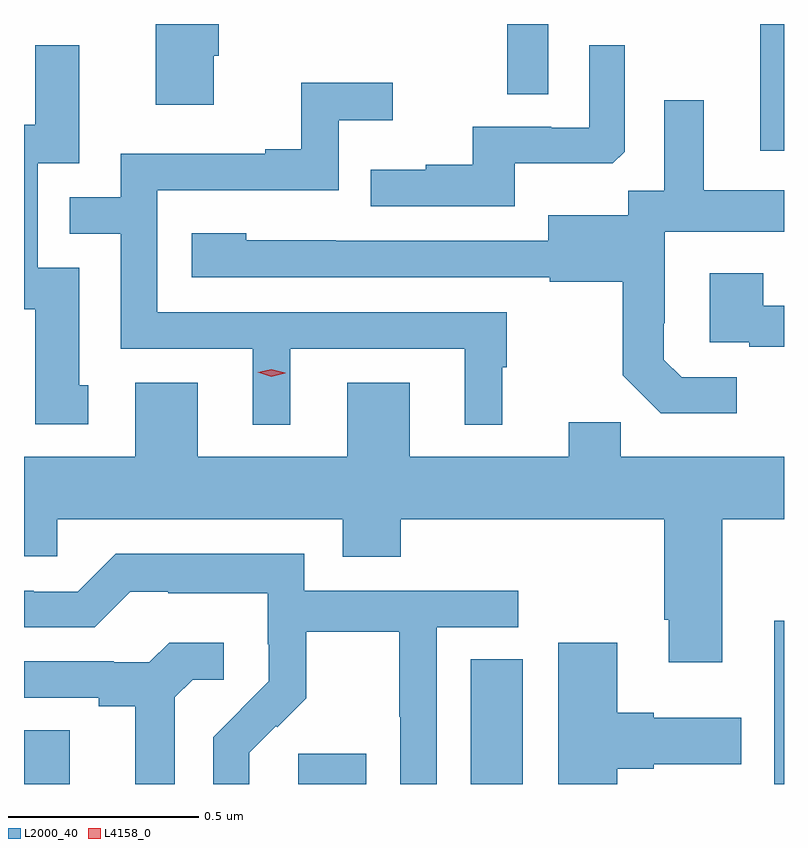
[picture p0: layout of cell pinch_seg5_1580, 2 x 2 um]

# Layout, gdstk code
import gdstk
lib = gdstk.Library(unit=1e-6, precision=1e-09)
def R(c, l, rs):  # rectangles x0, y0, x1, y1
    for r in rs: c.add(gdstk.rectangle(r[:2], r[2:], *l))
def P(c, l, *ps):  # polygons
    for p in ps: c.add(gdstk.Polygon(p, *l))
L2000_40 = (2000, 40)
L4158_0 = (4158, 0)

pinch_seg5_1580 = lib.new_cell('pinch_seg5_1580')
R(pinch_seg5_1580, L2000_40, [(265.632,849.403,265.753,849.545), (266.354,849.403,266.533,849.483), (266.807,849.403,266.944,849.731), (267.606,849.403,267.632,849.832), (267.569,851.07,267.632,851.403), (266.904,851.218,267.012,851.403)])
P(pinch_seg5_1580, L2000_40, [(266.131,851.319),(266.144,851.319),(266.144,851.403),(265.979,851.403),(265.979,851.19),(266.131,851.19)],
  [(266.923,851.036),(267.181,851.036),(267.213,851.067),(267.213,851.347),(267.12,851.347),(267.12,851.13),(267.02,851.13),(267.02,851.133),(266.813,851.133),(266.813,851.032),(266.689,851.032),(266.689,851.02),(266.545,851.02),(266.545,850.923),(266.923,850.923)],
  [(265.801,850.452),(265.777,850.452),(265.777,850.761),(265.668,850.761),(265.668,851.037),(265.777,851.037),(265.777,851.347),(265.661,851.347),(265.661,851.138),(265.632,851.138),(265.632,850.653),(265.661,850.653),(265.661,850.35),(265.801,850.35)],
  [(266.332,850.548),(266.792,850.548),(266.792,850.349),(266.89,850.349),(266.89,850.5),(266.902,850.5),(266.902,850.644),(265.983,850.644),(265.983,850.965),(266.46,850.965),(266.46,851.15),(266.602,851.15),(266.602,851.249),(266.362,851.249),(266.362,851.074),(266.267,851.074),(266.267,851.061),(265.887,851.061),(265.887,850.947),(265.753,850.947),(265.753,850.851),(265.887,850.851),(265.887,850.548),(266.234,850.548),(266.234,850.349),(266.332,850.349)],
  [(267.508,850.473),(267.363,850.473),(267.316,850.52),(267.316,850.615),(267.318,850.615),(267.318,850.856),(267.632,850.856),(267.632,850.966),(267.421,850.966),(267.421,851.203),(267.317,851.203),(267.317,850.964),(267.222,850.964),(267.222,850.9),(267.011,850.9),(267.011,850.833),(266.453,850.833),(266.453,850.834),(266.217,850.834),(266.217,850.852),(266.073,850.852),(266.073,850.737),(267.015,850.737),(267.015,850.725),(267.207,850.725),(267.207,850.479),(267.307,850.379),(267.508,850.379)],
  [(267.632,850.662),(267.577,850.662),(267.577,850.747),(267.437,850.747),(267.437,850.566),(267.541,850.566),(267.541,850.554),(267.632,850.554)],
  [(265.632,850.002),(265.719,850.002),(265.719,850.1),(266.471,850.1),(266.471,850.001),(266.624,850.001),(266.624,850.1),(267.317,850.1),(267.317,849.835),(267.329,849.835),(267.329,849.723),(267.469,849.723),(267.469,850.1),(267.632,850.1),(267.632,850.264),(267.203,850.264),(267.203,850.355),(267.065,850.355),(267.065,850.264),(266.647,850.264),(266.647,850.459),(266.483,850.459),(266.483,850.264),(266.089,850.264),(266.089,850.459),(265.925,850.459),(265.925,850.264),(265.632,850.264)],
  [(266.225,849.485),(266.295,849.555),(266.298,849.552),(266.375,849.629),(266.375,849.804),(266.62,849.804),(266.62,849.58),(266.622,849.58),(266.622,849.403),(266.718,849.403),(266.718,849.816),(266.932,849.816),(266.932,849.912),(266.37,849.912),(266.37,850.009),(265.873,850.009),(265.773,849.909),(265.658,849.909),(265.658,849.912),(265.632,849.912),(265.632,849.816),(265.818,849.816),(265.911,849.909),(266.011,849.909),(266.011,849.905),(266.274,849.905),(266.274,849.771),(266.276,849.771),(266.276,849.674),(266.202,849.6),(266.203,849.599),(266.13,849.526),(266.13,849.403),(266.225,849.403)],
  [(267.193,849.443),(267.289,849.443),(267.289,849.455),(267.52,849.455),(267.52,849.577),(267.289,849.577),(267.289,849.59),(267.193,849.59),(267.193,849.775),(267.038,849.775),(267.038,849.403),(267.193,849.403)],
  [(266.029,849.631),(266.076,849.678),(266.158,849.678),(266.158,849.775),(266.014,849.775),(265.962,849.723),(265.868,849.723),(265.868,849.726),(265.632,849.726),(265.632,849.63),(265.829,849.63),(265.829,849.608),(265.925,849.608),(265.925,849.403),(266.029,849.403)])
P(pinch_seg5_1580, L4158_0, [(266.283,850.475),(266.247,850.486),(266.247,850.486),(266.247,850.486),(266.283,850.495),(266.319,850.485),(266.319,850.484),(266.319,850.484)])

lib.write_gds('pinch_seg5_1580.gds')
